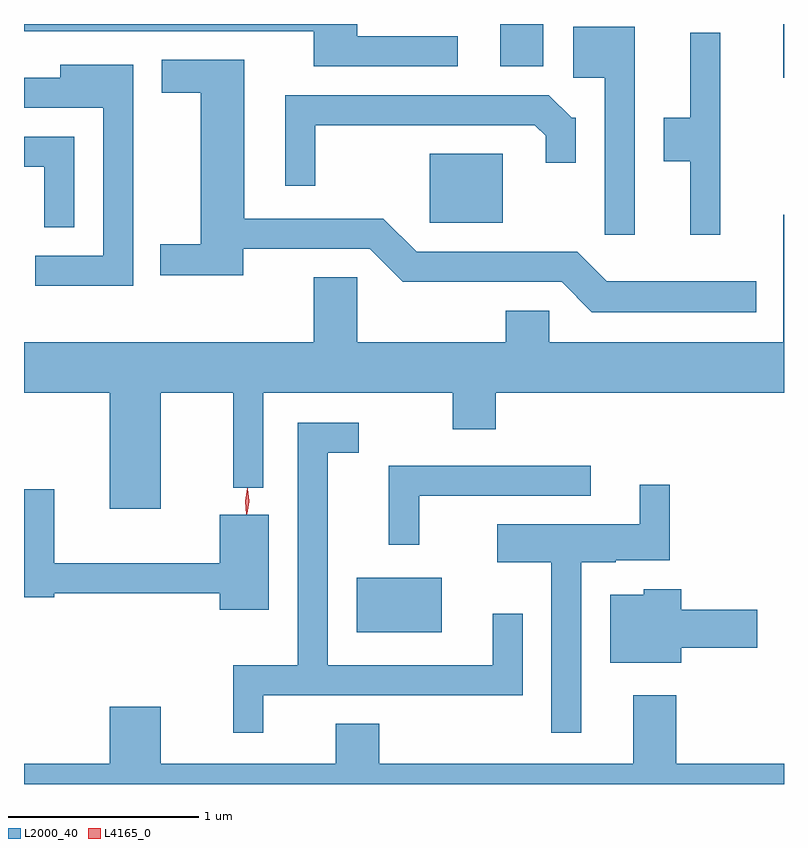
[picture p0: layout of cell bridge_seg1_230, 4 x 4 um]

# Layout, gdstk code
import gdstk
lib = gdstk.Library(unit=1e-6, precision=1e-09)
def R(c, l, rs):  # rectangles x0, y0, x1, y1
    for r in rs: c.add(gdstk.rectangle(r[:2], r[2:], *l))
def P(c, l, *ps):  # polygons
    for p in ps: c.add(gdstk.Polygon(p, *l))
L2000_40 = (2000, 40)
L4165_0 = (4165, 0)

bridge_seg1_230 = lib.new_cell('bridge_seg1_230')
R(bridge_seg1_230, L2000_40, [(815.776,873.896,816.224,874.184), (816.161,876.051,816.544,876.414), (818.021,876.816,818.025,877.098), (816.531,876.876,816.759,877.098)])
P(bridge_seg1_230, L2000_40, [(816.308,877.034),(815.779,877.034),(815.779,877.098),(814.025,877.098),(814.025,877.061),(815.551,877.061),(815.551,876.876),(816.308,876.876)],
  [(817.239,877.084),(816.916,877.084),(816.916,876.816),(817.081,876.816),(817.081,875.988),(817.239,875.988)],
  [(817.689,877.053),(817.531,877.053),(817.531,876.604),(817.391,876.604),(817.391,876.376),(817.531,876.376),(817.531,875.988),(817.689,875.988)],
  [(817.878,875.744),(817.092,875.744),(816.937,875.899),(816.092,875.899),(815.917,876.074),(815.184,876.074),(815.184,876.909),(814.751,876.909),(814.751,876.736),(814.956,876.736),(814.956,875.939),(814.743,875.939),(814.743,875.776),(815.179,875.776),(815.179,875.916),(815.844,875.916),(816.019,875.741),(816.854,875.741),(817.014,875.581),(817.878,875.581)],
  [(814.599,876.884),(814.216,876.884),(814.216,876.814),(814.025,876.814),(814.025,876.656),(814.441,876.656),(814.441,875.879),(814.083,875.879),(814.083,875.721),(814.599,875.721)],
  [(815.559,876.566),(816.714,876.566),(816.771,876.509),(816.771,876.368),(816.929,876.368),(816.929,876.604),(816.907,876.604),(816.787,876.724),(815.401,876.724),(815.401,876.248),(815.559,876.248)],
  [(814.289,876.504),(814.025,876.504),(814.025,876.346),(814.131,876.346),(814.131,876.028),(814.289,876.028)],
  [(814.744,875.156),(815.126,875.156),(815.126,874.658),(815.284,874.658),(815.284,875.156),(816.281,875.156),(816.281,874.966),(816.509,874.966),(816.509,875.156),(818.025,875.156),(818.025,876.094),(818.021,876.094),(818.021,875.424),(816.789,875.424),(816.789,875.589),(816.561,875.589),(816.561,875.424),(815.779,875.424),(815.779,875.764),(815.551,875.764),(815.551,875.424),(814.025,875.424),(814.025,875.156),(814.476,875.156),(814.476,874.546),(814.744,874.546)],
  [(815.284,873.566),(816.649,873.566),(816.649,873.993),(816.491,873.993),(816.491,873.724),(815.624,873.724),(815.624,874.841),(815.788,874.841),(815.788,874.999),(815.466,874.999),(815.466,873.724),(815.126,873.724),(815.126,873.368),(815.284,873.368)],
  [(816.104,874.616),(817.008,874.616),(817.008,874.774),(815.946,874.774),(815.946,874.358),(816.104,874.358)],
  [(816.959,874.266),(817.14,874.266),(817.14,874.276),(817.424,874.276),(817.424,874.673),(817.266,874.673),(817.266,874.464),(816.516,874.464),(816.516,874.266),(816.801,874.266),(816.801,873.368),(816.959,873.368)],
  [(815.314,874.514),(815.056,874.514),(815.056,874.259),(814.184,874.259),(814.184,874.649),(814.025,874.649),(814.025,874.081),(814.184,874.081),(814.184,874.101),(815.056,874.101),(815.056,874.016),(815.314,874.016)],
  [(817.484,873.816),(817.884,873.816),(817.884,874.014),(817.484,874.014),(817.484,874.124),(817.286,874.124),(817.286,874.094),(817.111,874.094),(817.111,873.736),(817.484,873.736)],
  [(818.025,873.204),(817.459,873.204),(817.459,873.564),(817.231,873.564),(817.231,873.204),(815.894,873.204),(815.894,873.414),(815.666,873.414),(815.666,873.204),(814.744,873.204),(814.744,873.504),(814.476,873.504),(814.476,873.204),(814.025,873.204),(814.025,873.098),(818.025,873.098)])
P(bridge_seg1_230, L4165_0, [(815.196,874.518),(815.19,874.587),(815.201,874.654),(815.202,874.655),(815.202,874.654),(815.209,874.586),(815.197,874.518),(815.197,874.518)],
  [(815.2,874.52),(815.199,874.521),(815.191,874.586),(815.201,874.651),(815.202,874.652),(815.202,874.651),(815.211,874.586),(815.2,874.521)])

lib.write_gds('bridge_seg1_230.gds')
